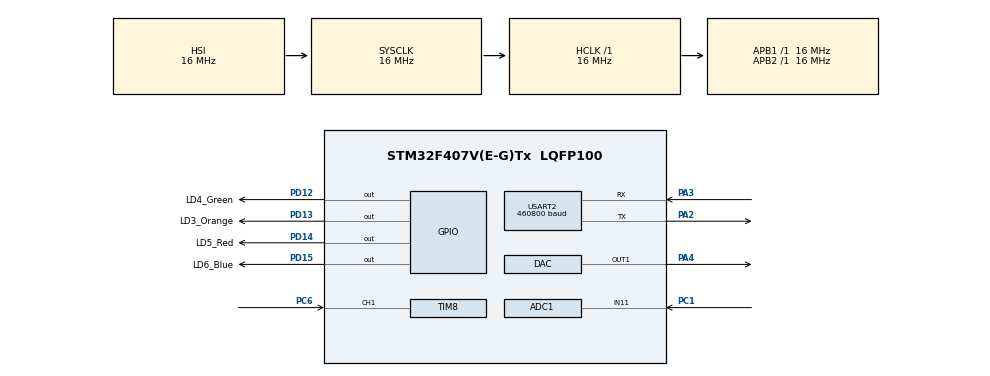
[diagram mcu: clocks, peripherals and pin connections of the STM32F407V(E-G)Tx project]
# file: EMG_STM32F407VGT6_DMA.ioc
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ADC1.Channel-1\#ChannelRegularConversion=ADC_CHANNEL_11
ADC1.DMAContinuousRequests=ENABLE
ADC1.ExternalTrigConv=ADC_EXTERNALTRIGCONV_T8_TRGO
ADC1.NbrOfConversionFlag=1
ADC1.Rank-1\#ChannelRegularConversion=1
ADC1.SamplingTime-1\#ChannelRegularConversion=ADC_SAMPLETIME_3CYCLES
ADC1.master=1
DAC.DAC_Trigger=DAC_TRIGGER_T8_TRGO
Dma.ADC1.0.Direction=DMA_PERIPH_TO_MEMORY
Dma.ADC1.0.FIFOMode=DMA_FIFOMODE_DISABLE
Dma.ADC1.0.Instance=DMA2_Stream0
Dma.ADC1.0.MemDataAlignment=DMA_MDATAALIGN_WORD
Dma.ADC1.0.MemInc=DMA_MINC_ENABLE
Dma.ADC1.0.Mode=DMA_CIRCULAR
Dma.ADC1.0.PeriphDataAlignment=DMA_PDATAALIGN_WORD
Dma.ADC1.0.PeriphInc=DMA_PINC_DISABLE
Dma.ADC1.0.Priority=DMA_PRIORITY_LOW
Dma.DAC1.1.Direction=DMA_MEMORY_TO_PERIPH
Dma.DAC1.1.FIFOMode=DMA_FIFOMODE_DISABLE
Dma.DAC1.1.Instance=DMA1_Stream5
Dma.DAC1.1.MemDataAlignment=DMA_MDATAALIGN_WORD
Dma.DAC1.1.MemInc=DMA_MINC_ENABLE
Dma.DAC1.1.Mode=DMA_CIRCULAR
Dma.DAC1.1.PeriphDataAlignment=DMA_PDATAALIGN_WORD
Dma.DAC1.1.PeriphInc=DMA_PINC_DISABLE
Dma.DAC1.1.Priority=DMA_PRIORITY_LOW
Dma.Request0=ADC1
Dma.Request1=DAC1
Dma.Request2=USART2_TX
Dma.USART2_TX.2.Direction=DMA_MEMORY_TO_PERIPH
Dma.USART2_TX.2.FIFOMode=DMA_FIFOMODE_DISABLE
Dma.USART2_TX.2.Instance=DMA1_Stream6
Dma.USART2_TX.2.MemDataAlignment=DMA_MDATAALIGN_WORD
Dma.USART2_TX.2.MemInc=DMA_MINC_ENABLE
Dma.USART2_TX.2.Mode=DMA_CIRCULAR
Dma.USART2_TX.2.PeriphDataAlignment=DMA_PDATAALIGN_WORD
Dma.USART2_TX.2.PeriphInc=DMA_PINC_DISABLE
Dma.USART2_TX.2.Priority=DMA_PRIORITY_LOW
Mcu.Family=STM32F4
Mcu.Name=STM32F407V(E-G)Tx
Mcu.Package=LQFP100
NVIC.DMA1_Stream5_IRQn=true\:0\:0\:false\:false\:true\:false\:true\:true
NVIC.DMA1_Stream6_IRQn=true\:0\:0\:false\:false\:true\:false\:true\:true
NVIC.DMA2_Stream0_IRQn=true\:0\:0\:false\:false\:true\:false\:true\:true
NVIC.PriorityGroup=NVIC_PRIORITYGROUP_4
PA2.Mode=Asynchronous
PA2.Signal=USART2_TX
PA3.Mode=Asynchronous
PA3.Signal=USART2_RX
PA4.Signal=COMP_DAC1_group
PC1.Signal=ADCx_IN11
PC6.Signal=S_TIM8_CH1
PD12.GPIO_Label=LD4_Green
PD12.Signal=GPIO_Output
PD13.GPIO_Label=LD3_Orange
PD13.Signal=GPIO_Output
PD14.GPIO_Label=LD5_Red
PD14.Signal=GPIO_Output
PD15.GPIO_Label=LD6_Blue
PD15.Signal=GPIO_Output
ProjectManager.HeapSize=0x200
ProjectManager.StackSize=0x400
ProjectManager.TargetToolchain=STM32CubeIDE
RCC.AHBFreq_Value=16000000
RCC.APB1Freq_Value=16000000
RCC.APB2Freq_Value=16000000
RCC.CortexFreq_Value=16000000
RCC.HSE_VALUE=25000000
RCC.HSI_VALUE=16000000
RCC.LSE_VALUE=32768
RCC.SYSCLKFreq_VALUE=16000000
RCC.VCOOutputFreq_Value=192000000
SH.ADCx_IN11.0=ADC1_IN11,IN11
SH.COMP_DAC1_group.0=DAC_OUT1,DAC_OUT1
SH.S_TIM8_CH1.0=TIM8_CH1,Input_Capture1_from_TI1
TIM8.Channel-Input_Capture1_from_TI1=TIM_CHANNEL_1
TIM8.Period=56000
TIM8.TIM_MasterOutputTrigger=TIM_TRGO_UPDATE
USART2.BaudRate=460800
USART2.Mode=MODE_TX
USART2.VirtualMode=VM_ASYNC
board=custom

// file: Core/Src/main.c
/* USER CODE BEGIN Header */
/**
  ******************************************************************************
  * @file           : main.c
  * @brief          : Main program body
  ******************************************************************************
  * @attention
  *
  * Copyright (c) 2024 STMicroelectronics.
  * All rights reserved.
  *
  * This software is licensed under terms that can be found in the LICENSE file
  * in the root directory of this software component.
  * If no LICENSE file comes with this software, it is provided AS-IS.
  *
  ******************************************************************************
  */
/* USER CODE END Header */
#include "main.h"

/* USER CODE BEGIN Includes */
#include "arm_math.h"
#include <stdio.h>
#include <stdbool.h>
/* USER CODE END Includes */

/* USER CODE BEGIN PD */
#define N 32
#define halfN 16
#define NUM_TAPS 32
#define BUFFER_SIZE 128  // Adjust this size as necessary
/* USER CODE END PD */

/* USER CODE BEGIN PM */
typedef struct {
    uint8_t buffer[BUFFER_SIZE];
    volatile uint32_t head;
    volatile uint32_t tail;
} CircularBuffer;
/* USER CODE END PM */

ADC_HandleTypeDef hadc1;
DMA_HandleTypeDef hdma_adc1;

DAC_HandleTypeDef hdac;
DMA_HandleTypeDef hdma_dac1;

TIM_HandleTypeDef htim8;

UART_HandleTypeDef huart2;
DMA_HandleTypeDef hdma_usart2_tx;

/* USER CODE BEGIN PV */
uint32_t adc_buffer[N];
uint32_t dac_buffer[N];
/* Buffers store values as integers, therefore casting is needed before sending
   values to floating point FIR filter */
float32_t filt_in[N];
float32_t filt_out[N];
float32_t *filt_in_ptr = &filt_in[0];
float32_t *filt_out_ptr = &filt_out[0];
volatile bool transmissionInProgress = false;

arm_fir_instance_f32 filter1;
CircularBuffer uartTxBuffer;
float32_t State[halfN + NUM_TAPS - 1];
float32_t Coeffs[NUM_TAPS] = {
	0.0000010668, 0.0000023755, 0.0000043788, 0.0000074511, 0.0000118578,
	0.0000177189, 0.0000249661, 0.0000332940, 0.0000421089, 0.0000504867,
	0.0000571499, 0.0000604758, 0.0000585464, 0.0000492457, 0.0000304027,
	0.0050037879, 0.0055890127, 0.0073898940, 0.0103248816, 0.0142630770,
	0.0190300660, 0.0244156217, 0.0301829344, 0.0360789651, 0.0418454728,
	0.0472302419, 0.0519980307, 0.0559407718, 0.0588865910, 0.0607072568,
	0.0613237390, 0.0607072568
};
/* USER CODE END PV */

void SystemClock_Config(void);
static void MX_GPIO_Init(void);
static void MX_DMA_Init(void);
static void MX_ADC1_Init(void);
static void MX_DAC_Init(void);
static void MX_TIM8_Init(void);
static void MX_USART2_UART_Init(void);

int main(void)
{

  /* MCU Configuration--------------------------------------------------------*/

  /* Reset of all peripherals, Initializes the Flash interface and the Systick. */
  HAL_Init();

  /* Configure the system clock */
  SystemClock_Config();

  /* Initialize all configured peripherals */
  MX_GPIO_Init();
  MX_DMA_Init();
  MX_ADC1_Init();
  MX_DAC_Init();
  MX_TIM8_Init();
  MX_USART2_UART_Init();
  /* USER CODE BEGIN 2 */
  HAL_ADC_Start_DMA(&hadc1, adc_buffer, N);
  HAL_DAC_Start_DMA(&hdac, DAC_CHANNEL_1, dac_buffer, N, DAC_ALIGN_12B_R);
  HAL_TIM_Base_Start(&htim8);
  arm_fir_init_f32(&filter1, NUM_TAPS, Coeffs, State, halfN);  // Puca na ovoj inicijalizaciji, stack frame ukazuje na ConvHalfCplCallback
  /* USER CODE END 2 */

  /* Infinite loop */
  while (1)
  {

  }
}

void SystemClock_Config(void)
{
  RCC_OscInitTypeDef RCC_OscInitStruct = {0};
  RCC_ClkInitTypeDef RCC_ClkInitStruct = {0};

  /** Configure the main internal regulator output voltage
  */
  __HAL_RCC_PWR_CLK_ENABLE();
  __HAL_PWR_VOLTAGESCALING_CONFIG(PWR_REGULATOR_VOLTAGE_SCALE1);

  /** Initializes the RCC Oscillators according to the specified parameters
  * in the RCC_OscInitTypeDef structure.
  */
  RCC_OscInitStruct.OscillatorType = RCC_OSCILLATORTYPE_HSI;
  RCC_OscInitStruct.HSIState = RCC_HSI_ON;
  RCC_OscInitStruct.HSICalibrationValue = RCC_HSICALIBRATION_DEFAULT;
  RCC_OscInitStruct.PLL.PLLState = RCC_PLL_NONE;
  if (HAL_RCC_OscConfig(&RCC_OscInitStruct) != HAL_OK)
  {
    Error_Handler();
  }

  /** Initializes the CPU, AHB and APB buses clocks
  */
  RCC_ClkInitStruct.ClockType = RCC_CLOCKTYPE_HCLK|RCC_CLOCKTYPE_SYSCLK
                              |RCC_CLOCKTYPE_PCLK1|RCC_CLOCKTYPE_PCLK2;
  RCC_ClkInitStruct.SYSCLKSource = RCC_SYSCLKSOURCE_HSI;
  RCC_ClkInitStruct.AHBCLKDivider = RCC_SYSCLK_DIV1;
  RCC_ClkInitStruct.APB1CLKDivider = RCC_HCLK_DIV1;
  RCC_ClkInitStruct.APB2CLKDivider = RCC_HCLK_DIV1;

  if (HAL_RCC_ClockConfig(&RCC_ClkInitStruct, FLASH_LATENCY_0) != HAL_OK)
  {
    Error_Handler();
  }
}

static void MX_ADC1_Init(void)
{

  ADC_ChannelConfTypeDef sConfig = {0};

  /** Configure the global features of the ADC (Clock, Resolution, Data Alignment and number of conversion)
  */
  hadc1.Instance = ADC1;
  hadc1.Init.ClockPrescaler = ADC_CLOCK_SYNC_PCLK_DIV2;
  hadc1.Init.Resolution = ADC_RESOLUTION_12B;
  hadc1.Init.ScanConvMode = DISABLE;
  hadc1.Init.ContinuousConvMode = DISABLE;
  hadc1.Init.DiscontinuousConvMode = DISABLE;
  hadc1.Init.ExternalTrigConvEdge = ADC_EXTERNALTRIGCONVEDGE_RISING;
  hadc1.Init.ExternalTrigConv = ADC_EXTERNALTRIGCONV_T8_TRGO;
  hadc1.Init.DataAlign = ADC_DATAALIGN_RIGHT;
  hadc1.Init.NbrOfConversion = 1;
  hadc1.Init.DMAContinuousRequests = ENABLE;
  hadc1.Init.EOCSelection = ADC_EOC_SINGLE_CONV;
  if (HAL_ADC_Init(&hadc1) != HAL_OK)
  {
    Error_Handler();
  }

  /** Configure for the selected ADC regular channel its corresponding rank in the sequencer and its sample time.
  */
  sConfig.Channel = ADC_CHANNEL_11;
  sConfig.Rank = 1;
  sConfig.SamplingTime = ADC_SAMPLETIME_3CYCLES;
  if (HAL_ADC_ConfigChannel(&hadc1, &sConfig) != HAL_OK)
  {
    Error_Handler();
  }

}

static void MX_DAC_Init(void)
{

  DAC_ChannelConfTypeDef sConfig = {0};

  /** DAC Initialization
  */
  hdac.Instance = DAC;
  if (HAL_DAC_Init(&hdac) != HAL_OK)
  {
    Error_Handler();
  }

  /** DAC channel OUT1 config
  */
  sConfig.DAC_Trigger = DAC_TRIGGER_T8_TRGO;
  sConfig.DAC_OutputBuffer = DAC_OUTPUTBUFFER_ENABLE;
  if (HAL_DAC_ConfigChannel(&hdac, &sConfig, DAC_CHANNEL_1) != HAL_OK)
  {
    Error_Handler();
  }

}

static void MX_TIM8_Init(void)
{

  TIM_MasterConfigTypeDef sMasterConfig = {0};
  TIM_IC_InitTypeDef sConfigIC = {0};

  htim8.Instance = TIM8;
  htim8.Init.Prescaler = 0;
  htim8.Init.CounterMode = TIM_COUNTERMODE_UP;
  htim8.Init.Period = 56000;
  htim8.Init.ClockDivision = TIM_CLOCKDIVISION_DIV1;
  htim8.Init.RepetitionCounter = 0;
  htim8.Init.AutoReloadPreload = TIM_AUTORELOAD_PRELOAD_DISABLE;
  if (HAL_TIM_IC_Init(&htim8) != HAL_OK)
  {
    Error_Handler();
  }
  sMasterConfig.MasterOutputTrigger = TIM_TRGO_UPDATE;
  sMasterConfig.MasterSlaveMode = TIM_MASTERSLAVEMODE_DISABLE;
  if (HAL_TIMEx_MasterConfigSynchronization(&htim8, &sMasterConfig) != HAL_OK)
  {
    Error_Handler();
  }
  sConfigIC.ICPolarity = TIM_INPUTCHANNELPOLARITY_RISING;
  sConfigIC.ICSelection = TIM_ICSELECTION_DIRECTTI;
  sConfigIC.ICPrescaler = TIM_ICPSC_DIV1;
  sConfigIC.ICFilter = 0;
  if (HAL_TIM_IC_ConfigChannel(&htim8, &sConfigIC, TIM_CHANNEL_1) != HAL_OK)
  {
    Error_Handler();
  }

}

static void MX_USART2_UART_Init(void)
{

  huart2.Instance = USART2;
  huart2.Init.BaudRate = 115200;
  huart2.Init.WordLength = UART_WORDLENGTH_8B;
  huart2.Init.StopBits = UART_STOPBITS_1;
  huart2.Init.Parity = UART_PARITY_NONE;
  huart2.Init.Mode = UART_MODE_TX;
  huart2.Init.HwFlowCtl = UART_HWCONTROL_NONE;
  huart2.Init.OverSampling = UART_OVERSAMPLING_16;
  if (HAL_UART_Init(&huart2) != HAL_OK)
  {
    Error_Handler();
  }
  /* USER CODE BEGIN USART2_Init 2 */
  HAL_NVIC_SetPriority(USART2_IRQn, 0, 0);
  HAL_NVIC_EnableIRQ(USART2_IRQn);
  /* USER CODE END USART2_Init 2 */

}

static void MX_DMA_Init(void)
{

  /* DMA controller clock enable */
  __HAL_RCC_DMA2_CLK_ENABLE();
  __HAL_RCC_DMA1_CLK_ENABLE();

  /* DMA interrupt init */
  /* DMA1_Stream5_IRQn interrupt configuration */
  HAL_NVIC_SetPriority(DMA1_Stream5_IRQn, 0, 0);
  HAL_NVIC_EnableIRQ(DMA1_Stream5_IRQn);
  /* DMA1_Stream6_IRQn interrupt configuration */
  HAL_NVIC_SetPriority(DMA1_Stream6_IRQn, 0, 0);
  HAL_NVIC_EnableIRQ(DMA1_Stream6_IRQn);
  /* DMA2_Stream0_IRQn interrupt configuration */
  HAL_NVIC_SetPriority(DMA2_Stream0_IRQn, 0, 0);
  HAL_NVIC_EnableIRQ(DMA2_Stream0_IRQn);

}

static void MX_GPIO_Init(void)
{
  GPIO_InitTypeDef GPIO_InitStruct = {0};

  /* GPIO Ports Clock Enable */
  __HAL_RCC_GPIOC_CLK_ENABLE();
  __HAL_RCC_GPIOA_CLK_ENABLE();
  __HAL_RCC_GPIOD_CLK_ENABLE();

  /*Configure GPIO pin Output Level */
  HAL_GPIO_WritePin(GPIOD, LD4_Green_Pin|LD3_Orange_Pin|LD5_Red_Pin|LD6_Blue_Pin, GPIO_PIN_RESET);

  /*Configure GPIO pins : LD4_Green_Pin LD3_Orange_Pin LD5_Red_Pin LD6_Blue_Pin */
  GPIO_InitStruct.Pin = LD4_Green_Pin|LD3_Orange_Pin|LD5_Red_Pin|LD6_Blue_Pin;
  GPIO_InitStruct.Mode = GPIO_MODE_OUTPUT_PP;
  GPIO_InitStruct.Pull = GPIO_NOPULL;
  GPIO_InitStruct.Speed = GPIO_SPEED_FREQ_LOW;
  HAL_GPIO_Init(GPIOD, &GPIO_InitStruct);

}

/* USER CODE BEGIN 4 */
void BlinkLED(GPIO_TypeDef* GPIOx, uint16_t GPIO_Pin, uint32_t duration, uint32_t count) {
    for (uint32_t i = 0; i < count; i++) {
        HAL_GPIO_WritePin(GPIOx, GPIO_Pin, GPIO_PIN_SET); // Turn on LED
        HAL_Delay(duration); // Delay for the specified duration
        HAL_GPIO_WritePin(GPIOx, GPIO_Pin, GPIO_PIN_RESET); // Turn off LED
        HAL_Delay(duration); // Delay for the specified duration
    }
}

void EnqueueToUartBuffer(uint8_t* data, size_t size) {
    for (size_t i = 0; i < size; i++) {
        // Wait if buffer is full
        while (((uartTxBuffer.head + 1) % BUFFER_SIZE) == uartTxBuffer.tail);
        uartTxBuffer.buffer[uartTxBuffer.head] = data[i];
        uartTxBuffer.head = (uartTxBuffer.head + 1) % BUFFER_SIZE;
    }

    // Start transmission if not already ongoing
	if (!transmissionInProgress) {
		transmissionInProgress = true;
		HAL_UART_Transmit_DMA(&huart2, &uartTxBuffer.buffer[uartTxBuffer.tail], 1);
	}
}

void SendDACData(uint32_t* data, size_t size) {
    char buffer[128];
    for (size_t i = 0; i < size; i++) {
        int len = snprintf(buffer, sizeof(buffer), "DAC[%d]: %lu\r\n", i, data[i]);
        EnqueueToUartBuffer((uint8_t*)buffer, len);
    }
}

void HAL_UART_TxCpltCallback(UART_HandleTypeDef *huart) {
    if (huart->Instance == USART2) {  // Ensure it's the correct UART
        // Move the tail forward in the circular buffer
        if (uartTxBuffer.tail != uartTxBuffer.head) {
            uartTxBuffer.tail = (uartTxBuffer.tail + 1) % BUFFER_SIZE;
            HAL_UART_Transmit_DMA(&huart2, &uartTxBuffer.buffer[uartTxBuffer.tail], 1);
        } else {
        	transmissionInProgress = false; // Transmission completed
        	// Blink blue LED when transmission is complete
        	BlinkLED(GPIOD, LD6_Blue_Pin, 1000, 1); // Adjust GPIO port and pin number accordingly
        }
    }
}

void HAL_ADC_ConvHalfCpltCallback(ADC_HandleTypeDef* hadc) {
	for (int n=0; n<halfN; n++){
		filt_in[n] = (float32_t) adc_buffer[n];
	}
	arm_fir_f32(&filter1, filt_in_ptr, filt_out_ptr, halfN);
//	arm_fir_f32(&filter1, filt_in, filt_out, halfN);
	for (int n=0; n<halfN; n++){
		dac_buffer[n] = (uint32_t) filt_out[n];
	}
	// Transmit DAC data via UART
	SendDACData(dac_buffer, halfN);

	BlinkLED(GPIOD, LD4_Green_Pin, 100, 1); // Adjust GPIO port and pin number accordingly
}

void HAL_ADC_ConvCpltCallback(ADC_HandleTypeDef* hadc) {
	for( int n=halfN; n<N; n++){ filt_in[n] = (float32_t) adc_buffer[n];}
	arm_fir_f32(&filter1, filt_in_ptr + halfN, filt_out_ptr + halfN, halfN);
	for( int n=halfN; n<N; n++){ dac_buffer[n] = (uint32_t) filt_out[n];}

	// Transmit DAC data via UART
	SendDACData(dac_buffer + halfN, halfN);

	BlinkLED(GPIOD, LD5_Red_Pin, 100, 1); // Adjust GPIO port and pin number accordingly
}
/* USER CODE END 4 */

void Error_Handler(void)
{
  __disable_irq();
  while (1)
  {
  }
}
